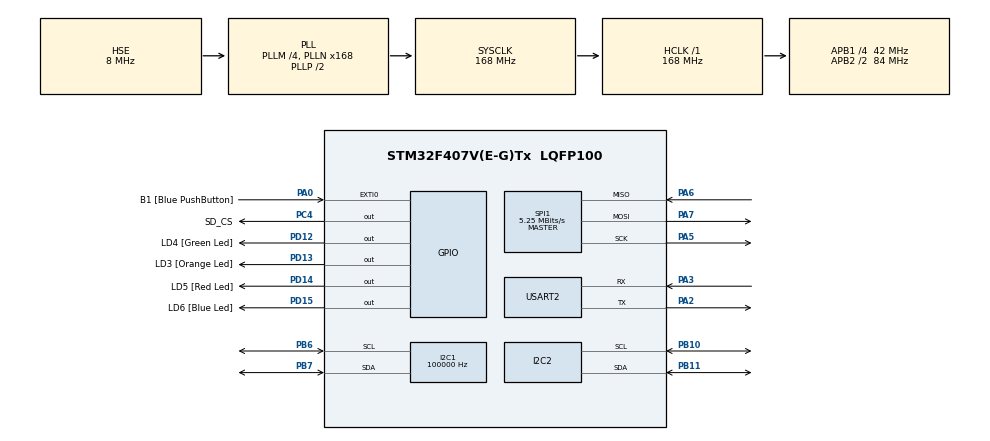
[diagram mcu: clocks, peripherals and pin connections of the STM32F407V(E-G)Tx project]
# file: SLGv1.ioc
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FATFS._MAX_SS=4096
FATFS._USE_LFN=1
I2C1.ClockSpeed=100000
I2C1.I2C_Mode=I2C_Standard
I2C1.OwnAddress=0x07
Mcu.Family=STM32F4
Mcu.Name=STM32F407V(E-G)Tx
Mcu.Package=LQFP100
NVIC.EXTI0_IRQn=true\:5\:0\:true\:false\:true\:true\:true\:true
NVIC.I2C1_ER_IRQn=true\:5\:0\:true\:false\:true\:true\:true\:true
NVIC.I2C1_EV_IRQn=true\:5\:0\:true\:false\:true\:true\:true\:true
NVIC.PriorityGroup=NVIC_PRIORITYGROUP_4
NVIC.TIM2_IRQn=true\:6\:0\:true\:false\:true\:true\:true\:true
NVIC.TIM3_IRQn=true\:6\:0\:true\:false\:true\:true\:true\:true
NVIC.TIM7_IRQn=true\:0\:0\:false\:false\:true\:false\:true\:true
NVIC.TimeBase=TIM7_IRQn
NVIC.TimeBaseIP=TIM7
NVIC.USART2_IRQn=true\:5\:0\:true\:false\:true\:true\:true\:true
PA0-WKUP.GPIO_Label=B1 [Blue PushButton]
PA0-WKUP.Signal=GPXTI0
PA13.GPIO_Label=SWDIO
PA13.Mode=Serial_Wire
PA13.Signal=SYS_JTMS-SWDIO
PA14.GPIO_Label=SWCLK
PA14.Mode=Serial_Wire
PA14.Signal=SYS_JTCK-SWCLK
PA2.Mode=Asynchronous
PA2.Signal=USART2_TX
PA3.Mode=Asynchronous
PA3.Signal=USART2_RX
PA5.Mode=Full_Duplex_Master
PA5.Signal=SPI1_SCK
PA6.Mode=Full_Duplex_Master
PA6.Signal=SPI1_MISO
PA7.Mode=Full_Duplex_Master
PA7.Signal=SPI1_MOSI
PB10.Mode=I2C
PB10.Signal=I2C2_SCL
PB11.Mode=I2C
PB11.Signal=I2C2_SDA
PB6.GPIO_Pu=GPIO_PULLUP
PB6.Mode=I2C
PB6.Signal=I2C1_SCL
PB7.GPIO_Pu=GPIO_PULLUP
PB7.Mode=I2C
PB7.Signal=I2C1_SDA
PC4.GPIO_Label=SD_CS
PC4.PinState=GPIO_PIN_SET
PC4.Signal=GPIO_Output
PD12.GPIO_Label=LD4 [Green Led]
PD12.GPIO_PuPd=GPIO_NOPULL
PD12.GPIO_Speed=GPIO_SPEED_FREQ_LOW
PD12.Signal=GPIO_Output
PD13.GPIO_Label=LD3 [Orange Led]
PD13.GPIO_PuPd=GPIO_NOPULL
PD13.GPIO_Speed=GPIO_SPEED_FREQ_LOW
PD13.Signal=GPIO_Output
PD14.GPIO_Label=LD5 [Red Led]
PD14.GPIO_PuPd=GPIO_NOPULL
PD14.GPIO_Speed=GPIO_SPEED_FREQ_LOW
PD14.Signal=GPIO_Output
PD15.GPIO_Label=LD6 [Blue Led]
PD15.GPIO_PuPd=GPIO_NOPULL
PD15.GPIO_Speed=GPIO_SPEED_FREQ_LOW
PD15.Signal=GPIO_Output
PH0-OSC_IN.Mode=HSE-External-Oscillator
PH0-OSC_IN.Signal=RCC_OSC_IN
PH1-OSC_OUT.Mode=HSE-External-Oscillator
PH1-OSC_OUT.Signal=RCC_OSC_OUT
ProjectManager.HeapSize=0x200
ProjectManager.StackSize=0x400
ProjectManager.TargetToolchain=STM32CubeIDE
RCC.48MHZClocksFreq_Value=48000000
RCC.AHBFreq_Value=168000000
RCC.APB1CLKDivider=RCC_HCLK_DIV4
RCC.APB1Freq_Value=42000000
RCC.APB1TimFreq_Value=84000000
RCC.APB2CLKDivider=RCC_HCLK_DIV2
RCC.APB2Freq_Value=84000000
RCC.APB2TimFreq_Value=168000000
RCC.CortexFreq_Value=168000000
RCC.HCLKFreq_Value=168000000
RCC.HSE_VALUE=8000000
RCC.HSI_VALUE=16000000
RCC.PLLM=4
RCC.PLLN=168
RCC.PLLQ=7
RCC.PLLSourceVirtual=RCC_PLLSOURCE_HSE
RCC.RCC_RTC_Clock_Source=RCC_RTCCLKSOURCE_LSI
RCC.RCC_RTC_Clock_SourceVirtual=RCC_RTCCLKSOURCE_LSE
RCC.RCC_RTC_Clock_Source_FROM_HSE=RCC_RTCCLKSOURCE_HSE_DIV26
RCC.SYSCLKFreq_VALUE=168000000
RCC.SYSCLKSource=RCC_SYSCLKSOURCE_PLLCLK
RCC.VCOOutputFreq_Value=336000000
RTC.Date=9
RTC.Hours=15
RTC.Minutes=20
RTC.Month=RTC_MONTH_MARCH
RTC.WeekDay=RTC_WEEKDAY_SATURDAY
RTC.Year=24
SPI1.BaudRatePrescaler=SPI_BAUDRATEPRESCALER_16
SPI1.CalculateBaudRate=5.25 MBits/s
SPI1.Direction=SPI_DIRECTION_2LINES
SPI1.Mode=SPI_MODE_MASTER
SPI1.VirtualType=VM_MASTER
TIM2.Period=3000000-1
TIM2.Prescaler=84-1
TIM3.Period=25000-1
TIM3.Prescaler=8400-1
USART2.VirtualMode=VM_ASYNC
VP_FATFS_VS_Generic.Mode=User_defined
VP_RTC_VS_RTC_Activate.Mode=RTC_Enabled
VP_RTC_VS_RTC_Calendar.Mode=RTC_Calendar
VP_SYS_VS_tim7.Mode=TIM7
VP_TIM2_VS_ClockSourceINT.Mode=Internal
VP_TIM3_VS_ClockSourceINT.Mode=Internal
board=STM32F407G-DISC1

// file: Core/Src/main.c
/* USER CODE BEGIN Header */
/**
  ******************************************************************************
  * @file           : main.c
  * @brief          : Main program body
  ******************************************************************************
  * @attention
  *
  * Copyright (c) 2023 STMicroelectronics.
  * All rights reserved.
  *
  * This software is licensed under terms that can be found in the LICENSE file
  * in the root directory of this software component.
  * If no LICENSE file comes with this software, it is provided AS-IS.
  *
  ******************************************************************************
  */
/* USER CODE END Header */
#include "main.h"
#include "fatfs.h"

/* USER CODE BEGIN Includes */
#include <stdio.h>
#include <string.h>
#include <unistd.h>
#include <stdlib.h>

#include "FreeRTOS.h"
#include "queue.h"
#include "task.h"
#include "semphr.h"

#include "DS1307.h"
#include "slg_task.h"
#include "csp_task.h"
#include "HashTable.h"
#include "fatfs_sd.h"
/* USER CODE END Includes */

/* USER CODE BEGIN PD */
#ifdef __GNUC__
  #define PUTCHAR_PROTOTYPE int __io_putchar(int ch)
#else
  #define PUTCHAR_PROTOTYPE int fputc(int ch, FILE *f)
#endif /* __GNUC__ */

#define DISPLAY_MENU        0
#define SDCARD_COMMAND      100
#define CREATE_FILE         1
#define CREATE_DIR          2
#define COPY_FILE           3
#define MOVE_FILE           4
#define DELETE_FILE         5
#define READ_FILE           6
#define WRITE_FILE          7
#define SCAN_FILE_SYSTEM    8
#define REAL_TIME_CLOCK     9
#define PARAM_ON            10
#define PARAM_OFF           11
#define MOUNT_SDCARD        12
#define UNMOUNT_SDCARD      13
#define CHECK_SPACE         14
#define CSP_COMMAND         20
#define CSP_RX_ON           21
#define CSP_RX_OFF          22
#define SLG_COMMAND         30
#define SLG_SF              53
#define SLG_CR              54
#define TIMER_TEST          60

/* USER CODE END PD */

I2C_HandleTypeDef hi2c1;
I2C_HandleTypeDef hi2c2;

RTC_HandleTypeDef hrtc;

SPI_HandleTypeDef hspi1;

TIM_HandleTypeDef htim2;
TIM_HandleTypeDef htim3;

UART_HandleTypeDef huart2;

/* USER CODE BEGIN PV */
TaskHandle_t rxCmdTaskHandler = NULL;
TaskHandle_t processCmdTaskHandler = NULL;
TaskHandle_t menuDisplayTaskHandler = NULL;
TaskHandle_t rtcTaskHandler = NULL;
TaskHandle_t timerTaskHandler = NULL;
extern TaskHandle_t xTaskHandle_SLG_I2C_RX;
QueueHandle_t rxCmdQueue;

PUTCHAR_PROTOTYPE
{
	HAL_UART_Transmit(&huart2, (uint8_t *)&ch, 1, 0xFFFF);
	return ch;
}

/* -----Command Line----- */
Hash_Table* ht;
typedef struct
{
	uint8_t temp[30];
	uint8_t cmd[10];
	uint8_t param[30];
	uint8_t param2[30];
	uint8_t cmdLen;
	uint8_t paramLen;
	uint8_t paramLen2;
}rxCmd;
rxCmd myRxCmd;
uint8_t pos = 0;
uint8_t rxData = 0;
volatile uint8_t uartFlag = 0;

/* -----SD CARD----- */
FATFS fs; // file system
FIL file; // file
FRESULT fresult; // to store the result
char buffer[1024]; // to store data
UINT br, bw;
FATFS *pfs;
DWORD fre_clust;
uint32_t total, free_space;
DIR dir; // Directory
FILINFO fno; // File info
uint8_t readBuff[10240] = {0};
//char path[512];
uint8_t timer2Flag = 0;
uint8_t timer3Flag = 0;

/* -----RTC----- */
RTC_DateTypeDef gDate;
RTC_TimeTypeDef gTime;

RTC_time_t myTime;
RTC_date_t myDate;

/* -----LORA----- */
/* sf_10_cr45: 2500 ms
 * sf_9_cr45: 2247 ms
 * sf_8_cr45: 2134 ms
 * sf_7_cr45: 2070 ms
 * sf_10_cr48: 2592 ms
 * sf_9_cr48: 2298 ms
 * sf_8_cr48: 2163 ms
 * sf_7_cr48: 2090 ms */
uint32_t cr_sf_array[4][6] = {{2070, 2134, 2247, 2500, 2986, 3974},
							{2077, 2143, 2264, 2530, 3040, 4172},
							{2083, 2153, 2281, 2561, 3095, 4269},
							{2090, 2163, 2298, 2592, 3150, 4367}};
uint8_t sf_setting = 10;
uint8_t cr_setting = 1;
//extern uint8_t isr_rxData[SLAVE_RX_BUFFER_SIZE];

/* USER CODE END PV */

void SystemClock_Config(void);
static void MX_GPIO_Init(void);
static void MX_I2C1_Init(void);
static void MX_USART2_UART_Init(void);
static void MX_SPI1_Init(void);
static void MX_RTC_Init(void);
static void MX_TIM2_Init(void);
static void MX_TIM3_Init(void);
static void MX_I2C2_Init(void);
/* USER CODE BEGIN PFP */
void HAL_UART_RxCpltCallback(UART_HandleTypeDef *huart)
{
	if (huart->Instance == USART2)
	{
		/* Enabling interrupt receive again */
		HAL_UART_Receive_IT(&huart2,(uint8_t*)&rxData,1);
		/* As always, xHigherPriorityTaskWoken is initialized to pdFALSE */
		BaseType_t xHigherPriorityTaskWoken = pdFALSE;
		xQueueSendToBackFromISR( rxCmdQueue, &rxData, &xHigherPriorityTaskWoken );
		portYIELD_FROM_ISR(xHigherPriorityTaskWoken);
	}
}

void HAL_GPIO_EXTI_Callback(uint16_t GPIO_Pin)
{
  if(GPIO_Pin == B1_Pin)
  {

  }
}
/* USER CODE END PFP */

/* USER CODE BEGIN 0 */
void init_DS1307_Date_Time(void);
void get_DS1307_Date_Time(void);
void init_Date_Time(void);
void get_Date_Time(void);
void clearRxCmd(rxCmd* myRxCmd);
void SD_init(void);
FRESULT scanSD(char* prevPath);
void initHashTable(void);
void slgMenuDisplay(void);
void sdcardMenuDisplay(void);
void LEDBlinkTask(void* pvParameter);
void rxCmdTask(void* pvParameter);
void processCmdTask(void* pvParameter);
void dataStorageTask(void* pvParameter);

void vApplicationGetTimerTaskMemory( StaticTask_t **ppxTimerTaskTCBBuffer, StackType_t **ppxTimerTaskStackBuffer, uint32_t *pulTimerTaskStackSize )
{
    static StaticTask_t TimerTaskTCB;
    static StackType_t TimerTaskStack[configTIMER_TASK_STACK_DEPTH];
    *ppxTimerTaskTCBBuffer = &TimerTaskTCB;
    *ppxTimerTaskStackBuffer = TimerTaskStack;
    *pulTimerTaskStackSize = configTIMER_TASK_STACK_DEPTH;
}

void vApplicationGetIdleTaskMemory( StaticTask_t **ppxIdleTaskTCBBuffer, StackType_t **ppxIdleTaskStackBuffer, uint32_t *pulIdleTaskStackSize )
{
    static StaticTask_t IdleTaskTCB;
    static StackType_t IdleTaskStack[configMINIMAL_STACK_SIZE];
    *ppxIdleTaskTCBBuffer = &IdleTaskTCB;
    *ppxIdleTaskStackBuffer = IdleTaskStack;
    *pulIdleTaskStackSize = configMINIMAL_STACK_SIZE;
}

void rtcTask(void* pvParameter)
{
	/* initialize RTC to 00:00 */
	init_Date_Time();
	/* initialize DS1307 to 00:00 */
	init_DS1307_Date_Time();
	while(1)
	{
		get_Date_Time();
		get_DS1307_Date_Time();
		printf("--------------\r\n");
		printf("STM32 RTC: \r\n");
		printf("%02d-%02d-%04d\r\n", gDate.Date, gDate.Month, 2000 + gDate.Year);
		printf("%02d:%02d:%02d\r\n", gTime.Hours, gTime.Minutes, gTime.Seconds);
		printf("DS1307 RTC: \r\n");
		printf("%02d-%02d-%04d\r\n", myDate.date, myDate.month, 2000 + myDate.year);
		printf("%02d:%02d:%02d\r\n", myTime.hours, myTime.minutes, myTime.seconds);
		vTaskDelay(5000);
	}
}

void timerTask(void* pvParameter)
{
	/* initialize RTC to 00:00 */
	init_Date_Time();
	/* initialize DS1307 to 00:00 */
	init_DS1307_Date_Time();
	/* Auto Reload (millisecond) */
	htim2.Instance->ARR = *(int*)pvParameter * 1000 - 1;
	printf("Timer testing task start.. \r\n");
	HAL_TIM_Base_Start_IT(&htim2);
	while(1)
	{
		if(timer2Flag == 1)
		{
			get_Date_Time();
			get_DS1307_Date_Time();
			int milisec = (1.0f - (float)gTime.SubSeconds / (float)gTime.SecondFraction) * 1000;
			if(milisec >= 1000) milisec = 999;
			printf("--------------\r\n");
			printf("Current STM32 RTC time: %02d:%02d.%03d \r\n", gTime.Minutes, gTime.Seconds, milisec);
			printf("Current DS1307 RTC time: %02d:%02d\r\n", myTime.minutes, myTime.seconds);
			htim2.Instance->CNT &= 0x0;
			timer2Flag = 0;
		}
	}
}

void rxCmdTask(void* pvParameter)
{
	char rxQueueData;
	while(1)
	{
		// receive characters one by one
		if(xQueueReceive( rxCmdQueue, (void *)&rxQueueData, portMAX_DELAY ))
		{
			switch(rxQueueData)
			{
			case ' ':
				// first space
				if(uartFlag == 0)
				{
					// clear array
					if(myRxCmd.cmdLen)
						memset(myRxCmd.cmd, '\0', myRxCmd.cmdLen);
					memcpy(myRxCmd.cmd, myRxCmd.temp, pos + 1);
					memset(myRxCmd.temp, '\0', pos + 1);
					myRxCmd.cmdLen = pos + 1;
				}
				// second space
				else if(uartFlag == 1)
				{
					// clear array
					if(myRxCmd.paramLen)
						memset(myRxCmd.param, '\0', myRxCmd.paramLen);
					memcpy(myRxCmd.param, myRxCmd.temp, pos + 1);
					memset(myRxCmd.temp, '\0', pos + 1);
					myRxCmd.paramLen = pos + 1;
				}
				pos = 0;
				uartFlag++;
				printf(" ");
				break;
			// check if received byte is user pressing enter
			case '\r':
				// two parameter
				if(uartFlag == 2)
				{
					// clear array
					if(myRxCmd.paramLen2)
						memset(myRxCmd.param2, '\0', myRxCmd.paramLen2);
					memcpy(myRxCmd.param2, myRxCmd.temp, pos + 1);
					myRxCmd.paramLen2 = pos + 1;
				}
				// one parameter
				else if(uartFlag == 1)
				{
					// clear array
					if(myRxCmd.paramLen)
						memset(myRxCmd.param, '\0', myRxCmd.paramLen);
					memcpy(myRxCmd.param, myRxCmd.temp, pos + 1);
					myRxCmd.paramLen = pos + 1;
				}
				// only command
				else
				{
					// clear array
					if(myRxCmd.cmdLen)
						memset(myRxCmd.cmd, '\0', myRxCmd.cmdLen);
					memcpy(myRxCmd.cmd, myRxCmd.temp, pos + 1);
					myRxCmd.cmdLen = pos + 1;
				}
				memset(myRxCmd.temp, '\0', pos + 1);
				pos = 0;
				uartFlag = 0;
				printf("\r\n");
				// notify cmd handling tasks
				xTaskNotify(processCmdTaskHandler, 0, eNoAction);
				// Send myRxCmd structure to queue
				//xQueueSend(processCmdQueue, &myRxCmd, (TickType_t)0);
				// force context switch
				taskYIELD();
				break;
			default:
				myRxCmd.temp[pos] = rxQueueData;
				pos++;
				printf("%c", rxQueueData);
			}
		}
	}
}

/*
 * Command Codes:
 * DISPLAY_MENU        0
 * CREATE_FILE         1
 * CREATE_DIR          2
 * COPY_FILE           3
 * MOVE_FILE           4
 * DELETE_FILE         5
 * READ_FILE           6
 * WRITE_FILE          7
 * SCAN_FILE_SYSTEM    8
 * REAL_TIME_CLOCK     9
 * REAL_TIME_CLOCK_ON  10
 * REAL_TIME_CLOCK_OFF 11
 * MOUNT_SDCARD        12
 * UNMOUNT_SDCARD      13
 * CHECK_SPACE         14
 * */
void processCmdTask(void* pvParameter)
{
	int cmdCode = -1;
	int paramCode = -1;
	while(1)
	{
		// block until notification
		xTaskNotifyWait(0, 0, NULL, portMAX_DELAY);
		cmdCode = HT_searchKey(ht, (char*)&myRxCmd.cmd[0]);
		paramCode = HT_searchKey(ht, (char*)&myRxCmd.param[0]);
		switch(cmdCode)
		{
			case DISPLAY_MENU:
				if(paramCode == SDCARD_COMMAND)
				{
					sdcardMenuDisplay();
				}
				else if(paramCode == SLG_COMMAND)
				{
					slgMenuDisplay();
				}
				else
				{
					printf("Display the command menu -----------> help [sd/slg] \r\n");
				}
				break;
			case CREATE_FILE:
			{
				if(myRxCmd.paramLen == 0)
				{
					printf("File name is invalid !\r\n");
				}
				else
				{
					uint8_t filename[20];
					memcpy(filename, myRxCmd.param, myRxCmd.paramLen);
					/* Creating/Reading a file */
					fresult = f_open(&file, (char*)filename, FA_OPEN_ALWAYS | FA_READ | FA_WRITE);
					if(fresult == FR_OK) printf("Create file %s successfully !\r\n", filename);
					/* Close file */
					fresult = f_close(&file);
					if(fresult == FR_OK) printf("Close file !\r\n");
				}
				break;
			}
			case CREATE_DIR:
			{
				if(myRxCmd.paramLen == 0)
				{
					printf("Directory name is invalid !\r\n");
				}
				else
				{
					uint8_t dirname[30] = {0};
					memcpy(dirname, myRxCmd.param, myRxCmd.paramLen);
					/* Creating a directory */
					fresult = f_mkdir((char*)dirname);
					if(fresult == FR_OK) printf("Create directory %s successfully !\r\n", dirname);
				}
				break;
			}
			case COPY_FILE:
			{
				if(myRxCmd.paramLen == 0 || myRxCmd.paramLen2 == 0)
				{
					printf("File name is invalid !\r\n");
				}
				else
				{
					/* source file */
					fresult = f_open(&file, (char*)myRxCmd.param, FA_READ | FA_OPEN_EXISTING);
					if(fresult == FR_OK)
						printf("%s open successfully !\r\n", myRxCmd.param);

					fresult = f_read(&file, readBuff, f_size(&file), &br);
					if(fresult == FR_OK)
						printf("%s read successfully !\r\n", myRxCmd.param);
					f_close(&file);
					/* destination file */
					fresult = f_open(&file, (char*)myRxCmd.param2, FA_WRITE | FA_CREATE_ALWAYS);
					if(fresult == FR_OK)
						printf("%s open successfully !\r\n", myRxCmd.param2);

					fresult = f_write(&file, (char*)readBuff, br, &bw);
					if(fresult == FR_OK)
						printf("%s write successfully !\r\n", myRxCmd.param2);
					f_close(&file);
					memset(readBuff, '\0', strlen((char*)readBuff));
				}
				break;
			}
			case MOVE_FILE:
			{
				if(myRxCmd.paramLen == 0)
				{
					printf("Directory name is invalid !\r\n");
				}
				else
				{
					/* source file */
					fresult = f_open(&file, (char*)myRxCmd.param, FA_READ | FA_OPEN_EXISTING);
					if(fresult == FR_OK)
						printf("%s open successfully !\r\n", myRxCmd.param);

					fresult = f_read(&file, readBuff, f_size(&file), &br);
					if(fresult == FR_OK)
						printf("%s read successfully !\r\n", myRxCmd.param);
					f_close(&file);
					/* destination file */
					fresult = f_open(&file, (char*)myRxCmd.param2, FA_WRITE | FA_CREATE_ALWAYS);
					if(fresult == FR_OK)
					{
						printf("%s open successfully !\r\n", myRxCmd.param2);
						fresult = f_write(&file, (char*)readBuff, br, &bw);
						if(fresult == FR_OK)
							printf("%s write successfully !\r\n", myRxCmd.param2);
						f_close(&file);

						/* Remove file */
						fresult = f_unlink((char*)myRxCmd.param);
						if(fresult == FR_OK)
							printf("%s removed successfully !\r\n", myRxCmd.param);
						else if(fresult == FR_NO_FILE)
							printf("%s is not found !\r\n", myRxCmd.param);
					}
					memset(readBuff, '\0', strlen((char*)readBuff));
				}
				break;
			}
			case DELETE_FILE:
			{
				if(myRxCmd.paramLen == 0)
				{
				  printf("File name is invalid !\r\n");
				}
				else
				{
				  /* Remove files */
				  fresult = f_unlink((char*)myRxCmd.param);
				  if(fresult == FR_OK)
					  printf("%s removed successfully !\r\n", myRxCmd.param);
				  else if(fresult == FR_NO_FILE)
					  printf("%s is not found !\r\n", myRxCmd.param);
				}
				break;
			}
			case READ_FILE:
			{
				if(myRxCmd.paramLen == 0)
				{
					printf("File name is invalid !\r\n");
				}
				else
				{
					/* Open file to read */
					fresult = f_open(&file, (char*)myRxCmd.param, FA_READ);
					if(fresult == FR_OK)
						printf("%s read successfully !\r\n", myRxCmd.param);
					else if(fresult == FR_NO_FILE)
						printf("%s is not found !\r\n", myRxCmd.param);
					/* Read string from the file */
					f_read(&file, readBuff, f_size(&file), &br);
					printf("Read %s :\r\n", myRxCmd.param);
					printf("%s\r\n", readBuff);
					/* Close file */
					fresult = f_close(&file);
					if(fresult == FR_OK) printf("Close file !\r\n");
					memset(readBuff, '\0', strlen((char*)readBuff));
				}
				break;
			}
			case SCAN_FILE_SYSTEM:
			{
				fresult = scanSD("/");
				if(fresult != FR_OK)
					printf("Scan SD card.. fail !\r\n");
				break;
			}
			case REAL_TIME_CLOCK:
			{

				if(paramCode == PARAM_ON)
				{
					vTaskResume(rtcTaskHandler);
					printf("Resume RTC task ! \r\n");
				}
				else if(paramCode == PARAM_OFF)
				{
					vTaskSuspend(rtcTaskHandler);
					printf("Suspend RTC task ! \r\n");
				}
				else
				{
					printf("Invalid parameter !\r\n");
				}
				break;
			}
			case MOUNT_SDCARD:
			{
				fresult = f_mount(&fs, "", 1);
				if(fresult != FR_OK)
					printf("error in mounting SD CARD... \r\n");
				else
					printf("SD CARD mounted successfully... \r\n");
				break;
			}
			case UNMOUNT_SDCARD:
			{
				fresult = f_mount(NULL, "", 1);
				if(fresult != FR_OK)
					printf("error in unmounting SD CARD... \r\n");
				else
					printf("SD CARD unmounted successfully... \r\n");
				break;
			}
			case CHECK_SPACE:
			{
				/* Check free space */
				f_getfree("", &fre_clust, &pfs);

				total = (uint32_t)((pfs->n_fatent - 2) * pfs->csize * 0.5);
				printf("SD CARD total size: \t%lu\r\n", total);
				free_space = (uint32_t)(fre_clust * pfs->csize * 0.5);
				printf("SD CARD free space: \t%lu\r\n", free_space);
				break;
			}
			case CSP_COMMAND:
				if(paramCode == PARAM_ON)
				{
					vTaskResume(xTaskHandle_SLG_I2C_RX);
					printf("Resume I2C RX task ! \r\n");
				}
				else if(paramCode == PARAM_OFF)
				{
					vTaskSuspend(xTaskHandle_SLG_I2C_RX);
					printf("Suspend I2C RX task ! \r\n");
				}
				else
				{
					printf("Invalid csp paramter !\r\n");
				}
				break;
			case SLG_COMMAND:
				if(paramCode >= 31 && paramCode <= 52)
				{
					// three-part string
					cmd_slg_handle(paramCode, (char*)&myRxCmd.param2[0]);
				}
				else if(paramCode == SLG_SF)
				{
					uint8_t sf = (uint8_t)atoi((char*)&myRxCmd.param2[0]);
					if(sf>=7 && sf <=12)
					{
						sf_setting = sf;
						printf("Set sf: %u \r\n", sf_setting);
					}
					else
						printf("Parameter is out of range ! \r\n");
					if(sf > 10)
					{
						htim2.Instance->ARR = 5000000-1;
					}
					else
						htim2.Instance->ARR = 3000000-1;
				}
				else if(paramCode == SLG_CR)
				{
					uint8_t cr = (uint8_t)atoi((char*)&myRxCmd.param2[0]);
					if(cr>=1 && cr <=4)
					{
						cr_setting = cr;
						printf("Set cr: 4/%u \r\n", cr_setting + 4);
					}
					else
						printf("Parameter is out of range ! \r\n");
				}
				else
					printf("Invalid parameter ! \r\n");
				break;
			case TIMER_TEST:
			{
				if(paramCode == PARAM_ON)
				{
					if(strlen((char*)myRxCmd.param2) != 0)
					{
						int milli = atoi((char*)myRxCmd.param2);
						int result = xTaskCreate(timerTask, "TIMER", 512, (void*)&milli, 1, &timerTaskHandler);
						if(result == pdTRUE)
							printf("Success to create timer testing task ! \r\n");
						else
							printf("Fail to create timer testing task! Error Code: %d\r\n", result);
					}
					else
					{
						printf("Invalid parameter ! \r\n");
					}
				}
				else if(paramCode == PARAM_OFF)
				{
					if(timerTaskHandler != NULL)
					{
						vTaskDelete(timerTaskHandler);
						timerTaskHandler = NULL;
						printf("Timer testing task was deleted !\r\n");
					}
					else
					{
						printf("Timer testing task isn't exist !\r\n");
					}
					htim2.Instance->CNT &= 0x0;
					HAL_TIM_Base_Stop_IT(&htim2);
				}
				else
				{
					printf("Invalid parameter ! \r\n");
				}
				break;
			}
			default:
				printf("\r\nPlease input the correct command.\r\n");
				break;
		}
		clearRxCmd(&myRxCmd);
		/* force context switch */
		taskYIELD();
	}
}

/* USER CODE END 0 */

int main(void)
{

  /* MCU Configuration--------------------------------------------------------*/

  /* Reset of all peripherals, Initializes the Flash interface and the Systick. */
  HAL_Init();

  /* Configure the system clock */
  SystemClock_Config();

  /* Initialize all configured peripherals */
  MX_GPIO_Init();
  MX_I2C1_Init();
  MX_USART2_UART_Init();
  MX_SPI1_Init();
  MX_FATFS_Init();
  MX_RTC_Init();
  MX_TIM2_Init();
  MX_TIM3_Init();
  MX_I2C2_Init();
  /* USER CODE BEGIN 2 */
  //create cmd queue
  rxCmdQueue = xQueueCreate(10, sizeof(char));
  HAL_UART_Receive_IT(&huart2,(uint8_t*)&rxData,1); // Enabling interrupt receive again
  //HAL_I2C_Slave_Receive_IT(&hi2c1, isr_rxData, SLAVE_RX_BUFFER_SIZE);
  initHashTable();
  SD_init();
  csp_start();

  if(ds1307_init(&hi2c2))
  {
	  printf("DS1307 initialization .. fail !\r\n");
  }

  xTaskCreate(processCmdTask, "PROCESS", 4096*3, (void*)NULL, 3, &processCmdTaskHandler);
  xTaskCreate(rxCmdTask, "RX", 512, (void*)NULL, 3, &rxCmdTaskHandler);
  xTaskCreate(rtcTask, "RTC", 512, (void*)NULL, 1, &rtcTaskHandler);
  vTaskSuspend(rtcTaskHandler);
  //vTaskSuspend(xTaskHandle_SLG_I2C_RX);
  vTaskStartScheduler();
  /* USER CODE END 2 */

  /* Infinite loop */
  while (1)
  {

  }
}

void SystemClock_Config(void)
{
  RCC_OscInitTypeDef RCC_OscInitStruct = {0};
  RCC_ClkInitTypeDef RCC_ClkInitStruct = {0};

  /** Configure the main internal regulator output voltage
  */
  __HAL_RCC_PWR_CLK_ENABLE();
  __HAL_PWR_VOLTAGESCALING_CONFIG(PWR_REGULATOR_VOLTAGE_SCALE1);

  /** Initializes the RCC Oscillators according to the specified parameters
  * in the RCC_OscInitTypeDef structure.
  */
  RCC_OscInitStruct.OscillatorType = RCC_OSCILLATORTYPE_LSI|RCC_OSCILLATORTYPE_HSE;
  RCC_OscInitStruct.HSEState = RCC_HSE_ON;
  RCC_OscInitStruct.LSIState = RCC_LSI_ON;
  RCC_OscInitStruct.PLL.PLLState = RCC_PLL_ON;
  RCC_OscInitStruct.PLL.PLLSource = RCC_PLLSOURCE_HSE;
  RCC_OscInitStruct.PLL.PLLM = 4;
  RCC_OscInitStruct.PLL.PLLN = 168;
  RCC_OscInitStruct.PLL.PLLP = RCC_PLLP_DIV2;
  RCC_OscInitStruct.PLL.PLLQ = 7;
  if (HAL_RCC_OscConfig(&RCC_OscInitStruct) != HAL_OK)
  {
    Error_Handler();
  }

  /** Initializes the CPU, AHB and APB buses clocks
  */
  RCC_ClkInitStruct.ClockType = RCC_CLOCKTYPE_HCLK|RCC_CLOCKTYPE_SYSCLK
                              |RCC_CLOCKTYPE_PCLK1|RCC_CLOCKTYPE_PCLK2;
  RCC_ClkInitStruct.SYSCLKSource = RCC_SYSCLKSOURCE_PLLCLK;
  RCC_ClkInitStruct.AHBCLKDivider = RCC_SYSCLK_DIV1;
  RCC_ClkInitStruct.APB1CLKDivider = RCC_HCLK_DIV4;
  RCC_ClkInitStruct.APB2CLKDivider = RCC_HCLK_DIV2;

  if (HAL_RCC_ClockConfig(&RCC_ClkInitStruct, FLASH_LATENCY_5) != HAL_OK)
  {
    Error_Handler();
  }
}

static void MX_I2C1_Init(void)
{

  hi2c1.Instance = I2C1;
  hi2c1.Init.ClockSpeed = 100000;
  hi2c1.Init.DutyCycle = I2C_DUTYCYCLE_2;
  hi2c1.Init.OwnAddress1 = 14;
  hi2c1.Init.AddressingMode = I2C_ADDRESSINGMODE_7BIT;
  hi2c1.Init.DualAddressMode = I2C_DUALADDRESS_DISABLE;
  hi2c1.Init.OwnAddress2 = 0;
  hi2c1.Init.GeneralCallMode = I2C_GENERALCALL_DISABLE;
  hi2c1.Init.NoStretchMode = I2C_NOSTRETCH_DISABLE;
  if (HAL_I2C_Init(&hi2c1) != HAL_OK)
  {
    Error_Handler();
  }

}

static void MX_I2C2_Init(void)
{

  hi2c2.Instance = I2C2;
  hi2c2.Init.ClockSpeed = 100000;
  hi2c2.Init.DutyCycle = I2C_DUTYCYCLE_2;
  hi2c2.Init.OwnAddress1 = 0;
  hi2c2.Init.AddressingMode = I2C_ADDRESSINGMODE_7BIT;
  hi2c2.Init.DualAddressMode = I2C_DUALADDRESS_DISABLE;
  hi2c2.Init.OwnAddress2 = 0;
  hi2c2.Init.GeneralCallMode = I2C_GENERALCALL_DISABLE;
  hi2c2.Init.NoStretchMode = I2C_NOSTRETCH_DISABLE;
  if (HAL_I2C_Init(&hi2c2) != HAL_OK)
  {
    Error_Handler();
  }

}

static void MX_RTC_Init(void)
{

  RTC_TimeTypeDef sTime = {0};
  RTC_DateTypeDef sDate = {0};

  /** Initialize RTC Only
  */
  hrtc.Instance = RTC;
  hrtc.Init.HourFormat = RTC_HOURFORMAT_24;
  hrtc.Init.AsynchPrediv = 127;
  hrtc.Init.SynchPrediv = 255;
  hrtc.Init.OutPut = RTC_OUTPUT_DISABLE;
  hrtc.Init.OutPutPolarity = RTC_OUTPUT_POLARITY_HIGH;
  hrtc.Init.OutPutType = RTC_OUTPUT_TYPE_OPENDRAIN;
  if (HAL_RTC_Init(&hrtc) != HAL_OK)
  {
    Error_Handler();
  }

  /** Initialize RTC and set the Time and Date
  */
  sTime.Hours = 0x15;
  sTime.Minutes = 0x20;
  sTime.Seconds = 0x0;
  sTime.DayLightSaving = RTC_DAYLIGHTSAVING_NONE;
  sTime.StoreOperation = RTC_STOREOPERATION_RESET;
  if (HAL_RTC_SetTime(&hrtc, &sTime, RTC_FORMAT_BCD) != HAL_OK)
  {
    Error_Handler();
  }
  sDate.WeekDay = RTC_WEEKDAY_SATURDAY;
  sDate.Month = RTC_MONTH_MARCH;
  sDate.Date = 0x9;
  sDate.Year = 0x24;

  if (HAL_RTC_SetDate(&hrtc, &sDate, RTC_FORMAT_BCD) != HAL_OK)
  {
    Error_Handler();
  }

}

static void MX_SPI1_Init(void)
{

  /* SPI1 parameter configuration*/
  hspi1.Instance = SPI1;
  hspi1.Init.Mode = SPI_MODE_MASTER;
  hspi1.Init.Direction = SPI_DIRECTION_2LINES;
  hspi1.Init.DataSize = SPI_DATASIZE_8BIT;
  hspi1.Init.CLKPolarity = SPI_POLARITY_LOW;
  hspi1.Init.CLKPhase = SPI_PHASE_1EDGE;
  hspi1.Init.NSS = SPI_NSS_SOFT;
  hspi1.Init.BaudRatePrescaler = SPI_BAUDRATEPRESCALER_16;
  hspi1.Init.FirstBit = SPI_FIRSTBIT_MSB;
  hspi1.Init.TIMode = SPI_TIMODE_DISABLE;
  hspi1.Init.CRCCalculation = SPI_CRCCALCULATION_DISABLE;
  hspi1.Init.CRCPolynomial = 10;
  if (HAL_SPI_Init(&hspi1) != HAL_OK)
  {
    Error_Handler();
  }

}

static void MX_TIM2_Init(void)
{

  TIM_ClockConfigTypeDef sClockSourceConfig = {0};
  TIM_MasterConfigTypeDef sMasterConfig = {0};

  htim2.Instance = TIM2;
  htim2.Init.Prescaler = 84-1;
  htim2.Init.CounterMode = TIM_COUNTERMODE_UP;
  htim2.Init.Period = 3000000-1;
  htim2.Init.ClockDivision = TIM_CLOCKDIVISION_DIV1;
  htim2.Init.AutoReloadPreload = TIM_AUTORELOAD_PRELOAD_DISABLE;
  if (HAL_TIM_Base_Init(&htim2) != HAL_OK)
  {
    Error_Handler();
  }
  sClockSourceConfig.ClockSource = TIM_CLOCKSOURCE_INTERNAL;
  if (HAL_TIM_ConfigClockSource(&htim2, &sClockSourceConfig) != HAL_OK)
  {
    Error_Handler();
  }
  sMasterConfig.MasterOutputTrigger = TIM_TRGO_RESET;
  sMasterConfig.MasterSlaveMode = TIM_MASTERSLAVEMODE_DISABLE;
  if (HAL_TIMEx_MasterConfigSynchronization(&htim2, &sMasterConfig) != HAL_OK)
  {
    Error_Handler();
  }

}

static void MX_TIM3_Init(void)
{

  TIM_ClockConfigTypeDef sClockSourceConfig = {0};
  TIM_MasterConfigTypeDef sMasterConfig = {0};

  htim3.Instance = TIM3;
  htim3.Init.Prescaler = 8400-1;
  htim3.Init.CounterMode = TIM_COUNTERMODE_UP;
  htim3.Init.Period = 25000-1;
  htim3.Init.ClockDivision = TIM_CLOCKDIVISION_DIV1;
  htim3.Init.AutoReloadPreload = TIM_AUTORELOAD_PRELOAD_DISABLE;
  if (HAL_TIM_Base_Init(&htim3) != HAL_OK)
  {
    Error_Handler();
  }
  sClockSourceConfig.ClockSource = TIM_CLOCKSOURCE_INTERNAL;
  if (HAL_TIM_ConfigClockSource(&htim3, &sClockSourceConfig) != HAL_OK)
  {
    Error_Handler();
  }
  sMasterConfig.MasterOutputTrigger = TIM_TRGO_RESET;
  sMasterConfig.MasterSlaveMode = TIM_MASTERSLAVEMODE_DISABLE;
  if (HAL_TIMEx_MasterConfigSynchronization(&htim3, &sMasterConfig) != HAL_OK)
  {
    Error_Handler();
  }

}

static void MX_USART2_UART_Init(void)
{

  huart2.Instance = USART2;
  huart2.Init.BaudRate = 115200;
  huart2.Init.WordLength = UART_WORDLENGTH_8B;
  huart2.Init.StopBits = UART_STOPBITS_1;
  huart2.Init.Parity = UART_PARITY_NONE;
  huart2.Init.Mode = UART_MODE_TX_RX;
  huart2.Init.HwFlowCtl = UART_HWCONTROL_NONE;
  huart2.Init.OverSampling = UART_OVERSAMPLING_16;
  if (HAL_UART_Init(&huart2) != HAL_OK)
  {
    Error_Handler();
  }

}

static void MX_GPIO_Init(void)
{
  GPIO_InitTypeDef GPIO_InitStruct = {0};

  /* GPIO Ports Clock Enable */
  __HAL_RCC_GPIOH_CLK_ENABLE();
  __HAL_RCC_GPIOA_CLK_ENABLE();
  __HAL_RCC_GPIOC_CLK_ENABLE();
  __HAL_RCC_GPIOB_CLK_ENABLE();
  __HAL_RCC_GPIOD_CLK_ENABLE();

  /*Configure GPIO pin Output Level */
  HAL_GPIO_WritePin(SD_CS_GPIO_Port, SD_CS_Pin, GPIO_PIN_SET);

  /*Configure GPIO pin Output Level */
  HAL_GPIO_WritePin(GPIOD, LD4_Pin|LD3_Pin|LD5_Pin|LD6_Pin, GPIO_PIN_RESET);

  /*Configure GPIO pin : B1_Pin */
  GPIO_InitStruct.Pin = B1_Pin;
  GPIO_InitStruct.Mode = GPIO_MODE_IT_RISING;
  GPIO_InitStruct.Pull = GPIO_NOPULL;
  HAL_GPIO_Init(B1_GPIO_Port, &GPIO_InitStruct);

  /*Configure GPIO pin : SD_CS_Pin */
  GPIO_InitStruct.Pin = SD_CS_Pin;
  GPIO_InitStruct.Mode = GPIO_MODE_OUTPUT_PP;
  GPIO_InitStruct.Pull = GPIO_NOPULL;
  GPIO_InitStruct.Speed = GPIO_SPEED_FREQ_LOW;
  HAL_GPIO_Init(SD_CS_GPIO_Port, &GPIO_InitStruct);

  /*Configure GPIO pins : LD4_Pin LD3_Pin LD5_Pin LD6_Pin */
  GPIO_InitStruct.Pin = LD4_Pin|LD3_Pin|LD5_Pin|LD6_Pin;
  GPIO_InitStruct.Mode = GPIO_MODE_OUTPUT_PP;
  GPIO_InitStruct.Pull = GPIO_NOPULL;
  GPIO_InitStruct.Speed = GPIO_SPEED_FREQ_LOW;
  HAL_GPIO_Init(GPIOD, &GPIO_InitStruct);

  /* EXTI interrupt init*/
  HAL_NVIC_SetPriority(EXTI0_IRQn, 5, 0);
  HAL_NVIC_EnableIRQ(EXTI0_IRQn);

}

/* USER CODE BEGIN 4 */

void init_DS1307_Date_Time(void)
{
	myTime.hours = 0x14;
	myTime.minutes = 0x00;
	myTime.seconds = 0x00;
	myDate.date = 0x18;
	myDate.day = MONDAY;
	myDate.month = 0x03;
	myDate.year = 0x24;
	/* Set the DS1307 current Time */
	ds1307_set_current_time(&myTime);
	/* Set the DS1307 current Date */
	ds1307_set_current_date(&myDate);

}
void get_DS1307_Date_Time(void)
{
	/* Get the DS1307 current Time */
	ds1307_get_current_time(&myTime);
	/* Get the DS1307 current Date */
	ds1307_get_current_date(&myDate);
}

void init_Date_Time()
{
	gTime.Hours = 0x14;
	gTime.Minutes = 0x00;
	gTime.Seconds = 0x00;
	gDate.Date = 0x26;
	/* Set the RTC current Time */
	HAL_RTC_SetTime(&hrtc, &gTime, RTC_FORMAT_BIN);
	/* Set the RTC current Date */
	HAL_RTC_SetDate(&hrtc, &gDate, RTC_FORMAT_BIN);
}

void get_Date_Time(void)
{
	/* Get the RTC current Time */
	HAL_RTC_GetTime(&hrtc, &gTime, RTC_FORMAT_BIN);
	/* Get the RTC current Date */
	HAL_RTC_GetDate(&hrtc, &gDate, RTC_FORMAT_BIN);
}

void clearRxCmd(rxCmd* myRxCmd)
{
	memset(myRxCmd->cmd, '\0', strlen((char*)myRxCmd->cmd));
	myRxCmd->cmdLen = 0;
	memset(myRxCmd->param, '\0', strlen((char*)myRxCmd->param));
	myRxCmd->paramLen = 0;
	memset(myRxCmd->param2, '\0', strlen((char*)myRxCmd->param2));
	myRxCmd->paramLen2 = 0;
}

void SD_init(void)
{
	/* Mount SD Card */
	fresult = f_mount(&fs, "", 0);
	if(fresult != FR_OK)
		printf("error in mounting SD CARD... \r\n");
	else
		printf("SD CARD mounted successfully... \r\n");
	/* Check free space */
	f_getfree("", &fre_clust, &pfs);

	total = (uint32_t)((pfs->n_fatent - 2) * pfs->csize * 0.5);
	printf("SD CARD total size: \t%lu\r\n", total);
	free_space = (uint32_t)(fre_clust * pfs->csize * 0.5);
	printf("SD CARD free space: \t%lu\r\n", free_space);
	/* Creating/Reading a file */
	fresult = f_open(&file, "test.txt", FA_OPEN_ALWAYS | FA_READ | FA_WRITE);
	/* Writing text */
	fresult = f_puts("First line\n", &file);
	/* Close file */
	fresult = f_close(&file);
	/* Open file to read */
	fresult = f_open(&file, "test.txt", FA_READ);
	/* Read string from the file */
	f_read(&file, buffer, f_size(&file), &br);
	printf("%s\r\n", buffer);
	/* Close file */
	fresult = f_close(&file);

	/* Updating an existing file */
	fresult = f_open(&file, "test.txt", FA_OPEN_ALWAYS | FA_WRITE);
	/* Move to offset to the end to the file */
	fresult = f_lseek(&file, f_size(&file));
	/* Writing text */
	fresult = f_puts("This is updated data and it should be in the end\n", &file);
	f_close(&file);
	/* Open file to read */
	fresult = f_open(&file, "test.txt", FA_READ);
	/* Read string from the file */
	f_read(&file, buffer, f_size(&file), &br);
	printf("%s\r\n", buffer);
	f_close(&file);
	/* Remove files */
	fresult = f_unlink("test.txt");
	if(fresult == FR_OK) printf("test.txt removed successfully\r\n");
}

FRESULT scanSD(char* prevPath)
{
	UINT i;
	DIR thisdir;
	/* path record */
	char* path = (char*)pvPortMalloc(50*sizeof(char));
	sprintf(path, "%s", prevPath);
	f_opendir(&thisdir, path);
	while(1)
	{
		fresult = f_readdir(&thisdir, &fno);
		if(fresult != FR_OK || fno.fname[0] == 0) break;
		/* if it is a directory */
		if(fno.fattrib & AM_DIR)
		{
			if (strcmp ("System Volume Information", fno.fname) == 0) continue;
			printf("Dir: %s\r\n", fno.fname);
			i = strlen(path);
			sprintf(&path[i], "/%s", fno.fname);
			fresult = scanSD(path);
			if(fresult != FR_OK) break;
			path[i] = 0;
		}
		else
		{
			printf("File: %s/%s\r\n", path, fno.fname);
		}
	}
	f_closedir(&thisdir);
	vPortFree(path);
	return fresult;
}

/*
 * Command Codes:
 * DISPLAY_MENU        0
 * SDCARD_MENU         100
 * SLG_MENU            101
 * CREATE_FILE         1
 * CREATE_DIR          2
 * COPY_FILE           3
 * MOVE_FILE           4
 * DELETE_FILE         5
 * READ_FILE           6
 * WRITE_FILE          7
 * SCAN_FILE_SYSTEM    8
 * REAL_TIME_CLOCK     9
 * PRARM_ON            10
 * PRARM_OFF           11
 * MOUNT_SDCARD        12
 * UNMOUNT_SDCARD      13
 * CHECK_SPACE         14
 * */

void sdcardMenuDisplay()
{
	printf("Display the command menu ----> help    [sd/slg] \r\n");
	printf("Create file -----------------> mkfile  [filename] \r\n");
	printf("Create directory ------------> mkdir   [dirname] \r\n");
	printf("Copy file -------------------> cpfile  [source]   [destination] \r\n");
	printf("Move file -------------------> mvfile  [source]   [directory] \r\n");
	printf("Delete file -----------------> del     [filename] \r\n");
	printf("Read  file ------------------> read    [filename] \r\n");
	printf("Write file ------------------> write   [filename] [text] \r\n");
	printf("Scan file system ------------> ls \r\n");
	printf("Get current time ------------> rtc     [on/off]\r\n");
	printf("Mount SD Card ---------------> mount \r\n");
	printf("Unmount SD Card -------------> unmount \r\n");
	printf("Check SD Card space ---------> check \r\n");
	printf("CSP communication -----------> csp     [option]\r\n");
	printf("Timer test ------------------> tim     [millisecond]");
}

/*
 * Command Codes:
 * CSP_COMMAND                      20
 *
 * SLG_COMMAND                      30
 * SLG_PORT_PING                    31
 * SLG_PORT_START                   32
 * SLG_PORT_STOP                    33
 * SLG_SYNC                         51
 * SLG_PRINT                        52
 * PARAM_SLG_PARAMS                 35
 * PARAM_SLG_REGIONAL_PARAMS        36
 * PARAM_SLG_WHITELIST              40
 * SLG_PORT_PRINT_HOUSEKEEPING_A    47
 * SLG_PORT_PRINT_HOUSEKEEPING_B    48
 * SLG_FORWARD_ON                   49
 * SLG_FORWARD_OFF                  50
 *  */

void slgMenuDisplay()
{
	printf("Display the command menu -----------> help [sd/slg] \r\n");
	printf("I2C interrupt and RX_I2C task ------> csp  [on/off] \r\n");
	printf("Ping between subsystems ------------> slg  ping \r\n");
	printf("Start SLG into receiving mode ------> slg  start \r\n");
	printf("Stop SLG's active mode -------------> slg  stop \r\n");
	printf("Synchronize SLG params -------------> slg  sync     [param/region/white] \r\n");
	printf("Print SLG params -------------------> slg  print    [param/region/white] \r\n");
	printf("Print SLG housekeeping A -----------> slg  hka \r\n");
	printf("Print SLG housekeeping B -----------> slg  hkb \r\n");
	printf("Init & start to receive data -------> slg  fon      [filename]\r\n");
	printf("Stop to receive data ---------------> slg  foff \r\n");
	printf("Set Spreading Factor ---------------> slg  sf       [7-12] \r\n");
	printf("Set Spreading Factor ---------------> slg  cr       [1-4] \r\n");
}

void initHashTable(void)
{
	// define the function pointer
	HT_malloc = &pvPortMalloc;
	HT_free = &vPortFree;
	// select commands
	ht = HT_createTable(50);
	HT_insertItem(ht, "help",    0);
	HT_insertItem(ht, "sd",      100);
	HT_insertItem(ht, "mkfile",  1);
	HT_insertItem(ht, "mkdir",   2);
	HT_insertItem(ht, "cpfile",  3);
	HT_insertItem(ht, "mvfile",  4);
	HT_insertItem(ht, "del",     5);
	HT_insertItem(ht, "read",    6);
	HT_insertItem(ht, "write",   7);
	HT_insertItem(ht, "ls",      8);
	HT_insertItem(ht, "rtc",     9);
	HT_insertItem(ht, "on",      10);
	HT_insertItem(ht, "off",     11);
	HT_insertItem(ht, "mount",   12);
	HT_insertItem(ht, "unmount", 13);
	HT_insertItem(ht, "check",   14);
	HT_insertItem(ht, "csp",     20);
	HT_insertItem(ht, "slg",     30);
	HT_insertItem(ht, "ping",    31);
	HT_insertItem(ht, "start",   32);
	HT_insertItem(ht, "stop",    33);
	HT_insertItem(ht, "sync",    51);
	HT_insertItem(ht, "print",   52);
	HT_insertItem(ht, "param",   35);
	HT_insertItem(ht, "region",  36);
	HT_insertItem(ht, "white",   40);
	HT_insertItem(ht, "hka",     47);
	HT_insertItem(ht, "hkb",     48);
	HT_insertItem(ht, "fon",     49);
	HT_insertItem(ht, "foff",    50);
	HT_insertItem(ht, "sf",      53);
	HT_insertItem(ht, "cr",      54);
	HT_insertItem(ht, "tim",     60);
	HT_print(ht);

	printf("Search Key %s: Value %d \r\n", "check", HT_searchKey(ht, "check"));
}
/* USER CODE END 4 */

void HAL_TIM_PeriodElapsedCallback(TIM_HandleTypeDef *htim)
{
  /* USER CODE BEGIN Callback 0 */
	if(htim == &htim2)
	{
		timer2Flag = 1;
	}
	if(htim == &htim3)
	{
		timer3Flag = 1;
	}
  /* USER CODE END Callback 0 */
  if (htim->Instance == TIM7) {
    HAL_IncTick();
  }
}

void Error_Handler(void)
{
  __disable_irq();
  while (1)
  {
  }
}
